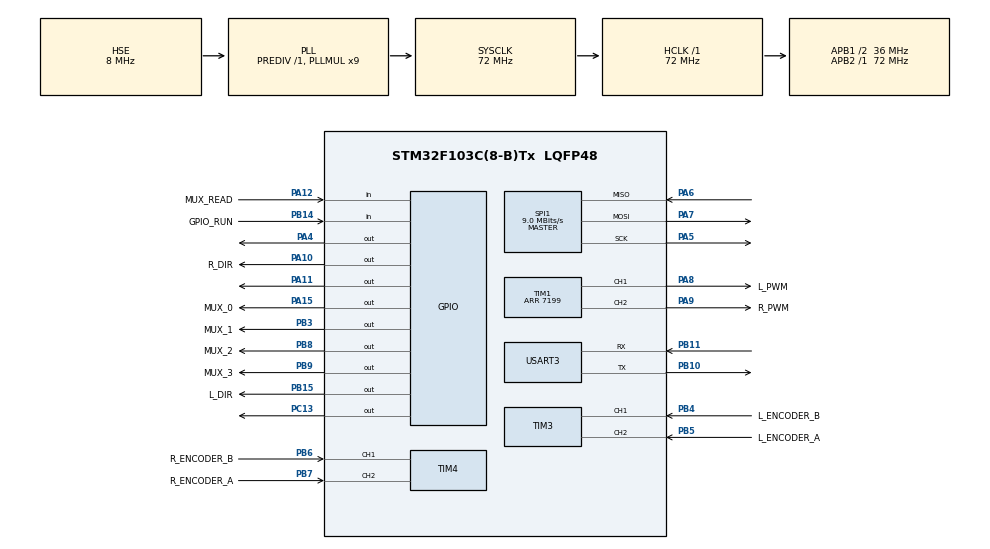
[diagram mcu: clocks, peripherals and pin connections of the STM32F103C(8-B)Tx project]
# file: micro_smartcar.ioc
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Dma.Request0=SPI1_RX
Dma.Request1=SPI1_TX
Dma.Request2=TIM1_UP
Dma.SPI1_RX.0.Direction=DMA_PERIPH_TO_MEMORY
Dma.SPI1_RX.0.Instance=DMA1_Channel2
Dma.SPI1_RX.0.MemDataAlignment=DMA_MDATAALIGN_BYTE
Dma.SPI1_RX.0.MemInc=DMA_MINC_ENABLE
Dma.SPI1_RX.0.Mode=DMA_NORMAL
Dma.SPI1_RX.0.PeriphDataAlignment=DMA_PDATAALIGN_BYTE
Dma.SPI1_RX.0.PeriphInc=DMA_PINC_DISABLE
Dma.SPI1_RX.0.Priority=DMA_PRIORITY_LOW
Dma.SPI1_TX.1.Direction=DMA_MEMORY_TO_PERIPH
Dma.SPI1_TX.1.Instance=DMA1_Channel3
Dma.SPI1_TX.1.MemDataAlignment=DMA_MDATAALIGN_BYTE
Dma.SPI1_TX.1.MemInc=DMA_MINC_ENABLE
Dma.SPI1_TX.1.Mode=DMA_NORMAL
Dma.SPI1_TX.1.PeriphDataAlignment=DMA_PDATAALIGN_BYTE
Dma.SPI1_TX.1.PeriphInc=DMA_PINC_DISABLE
Dma.SPI1_TX.1.Priority=DMA_PRIORITY_LOW
Dma.TIM1_UP.2.Direction=DMA_MEMORY_TO_PERIPH
Dma.TIM1_UP.2.Instance=DMA1_Channel5
Dma.TIM1_UP.2.MemDataAlignment=DMA_MDATAALIGN_WORD
Dma.TIM1_UP.2.MemInc=DMA_MINC_ENABLE
Dma.TIM1_UP.2.Mode=DMA_CIRCULAR
Dma.TIM1_UP.2.PeriphDataAlignment=DMA_PDATAALIGN_WORD
Dma.TIM1_UP.2.PeriphInc=DMA_PINC_DISABLE
Dma.TIM1_UP.2.Priority=DMA_PRIORITY_HIGH
Mcu.Family=STM32F1
Mcu.Name=STM32F103C(8-B)Tx
Mcu.Package=LQFP48
NVIC.DMA1_Channel2_IRQn=true\:0\:0\:false\:false\:true\:false\:true\:true
NVIC.DMA1_Channel3_IRQn=true\:0\:0\:false\:false\:true\:false\:true\:true
NVIC.DMA1_Channel5_IRQn=true\:1\:0\:false\:false\:true\:false\:true\:true
NVIC.PriorityGroup=NVIC_PRIORITYGROUP_4
NVIC.RCC_IRQn=true\:0\:0\:false\:false\:true\:true\:false\:true
NVIC.SPI1_IRQn=true\:0\:0\:false\:false\:true\:true\:true\:true
NVIC.TIM1_UP_IRQn=false\:0\:0\:false\:false\:true\:true\:true\:true
NVIC.TIM2_IRQn=true\:1\:0\:true\:false\:true\:true\:true\:true
NVIC.TIM3_IRQn=true\:0\:0\:false\:false\:true\:true\:true\:true
NVIC.TIM4_IRQn=true\:0\:0\:false\:false\:true\:true\:true\:true
NVIC.USART3_IRQn=true\:0\:0\:false\:false\:true\:true\:true\:true
PA10.GPIO_Label=R_DIR
PA10.Signal=GPIO_Output
PA11.Signal=GPIO_Output
PA12.GPIO_Label=MUX_READ
PA12.Signal=GPIO_Input
PA13.Mode=Serial_Wire
PA13.Signal=SYS_JTMS-SWDIO
PA14.Mode=Serial_Wire
PA14.Signal=SYS_JTCK-SWCLK
PA15.GPIO_Label=MUX_0
PA15.GPIO_Speed=GPIO_SPEED_FREQ_MEDIUM
PA15.Signal=GPIO_Output
PA4.GPIO_PuPd=GPIO_NOPULL
PA4.GPIO_Speed=GPIO_SPEED_FREQ_HIGH
PA4.Signal=GPIO_Output
PA5.Mode=Full_Duplex_Master
PA5.Signal=SPI1_SCK
PA6.Mode=Full_Duplex_Master
PA6.Signal=SPI1_MISO
PA7.Mode=Full_Duplex_Master
PA7.Signal=SPI1_MOSI
PA8.GPIO_Label=L_PWM
PA8.Signal=S_TIM1_CH1
PA9.GPIO_Label=R_PWM
PA9.Signal=S_TIM1_CH2
PB10.Mode=Asynchronous
PB10.Signal=USART3_TX
PB11.Mode=Asynchronous
PB11.Signal=USART3_RX
PB14.GPIO_Label=GPIO_RUN
PB14.GPIO_PuPd=GPIO_NOPULL
PB14.Signal=GPIO_Input
PB15.GPIO_Label=L_DIR
PB15.Signal=GPIO_Output
PB3.GPIO_Label=MUX_1
PB3.GPIO_Speed=GPIO_SPEED_FREQ_MEDIUM
PB3.Signal=GPIO_Output
PB4.GPIO_Label=L_ENCODER_B
PB4.Signal=S_TIM3_CH1
PB5.GPIO_Label=L_ENCODER_A
PB5.Signal=S_TIM3_CH2
PB6.GPIO_Label=R_ENCODER_B
PB6.Signal=S_TIM4_CH1
PB7.GPIO_Label=R_ENCODER_A
PB7.Signal=S_TIM4_CH2
PB8.GPIO_Label=MUX_2
PB8.GPIO_Speed=GPIO_SPEED_FREQ_MEDIUM
PB8.Signal=GPIO_Output
PB9.GPIO_Label=MUX_3
PB9.GPIO_Speed=GPIO_SPEED_FREQ_MEDIUM
PB9.Signal=GPIO_Output
PC13-TAMPER-RTC.GPIO_ModeDefaultOutputPP=GPIO_MODE_OUTPUT_OD
PC13-TAMPER-RTC.GPIO_PuPd=GPIO_NOPULL
PC13-TAMPER-RTC.Signal=GPIO_Output
PD0-OSC_IN.Mode=HSE-External-Oscillator
PD0-OSC_IN.Signal=RCC_OSC_IN
PD1-OSC_OUT.Mode=HSE-External-Oscillator
PD1-OSC_OUT.Signal=RCC_OSC_OUT
ProjectManager.HeapSize=0x200
ProjectManager.StackSize=0x400
ProjectManager.TargetToolchain=MDK-ARM V5.32
RCC.AHBFreq_Value=72000000
RCC.APB1CLKDivider=RCC_HCLK_DIV2
RCC.APB1Freq_Value=36000000
RCC.APB1TimFreq_Value=72000000
RCC.APB2Freq_Value=72000000
RCC.APB2TimFreq_Value=72000000
RCC.HCLKFreq_Value=72000000
RCC.PLLMUL=RCC_PLL_MUL9
RCC.PLLSourceVirtual=RCC_PLLSOURCE_HSE
RCC.SYSCLKFreq_VALUE=72000000
RCC.SYSCLKSource=RCC_SYSCLKSOURCE_PLLCLK
RCC.USBFreq_Value=72000000
SH.S_TIM1_CH1.0=TIM1_CH1,PWM Generation1 CH1
SH.S_TIM1_CH2.0=TIM1_CH2,PWM Generation2 CH2
SH.S_TIM3_CH1.0=TIM3_CH1,Encoder_Interface
SH.S_TIM3_CH2.0=TIM3_CH2,Encoder_Interface
SH.S_TIM4_CH1.0=TIM4_CH1,Encoder_Interface
SH.S_TIM4_CH2.0=TIM4_CH2,Encoder_Interface
SPI1.BaudRatePrescaler=SPI_BAUDRATEPRESCALER_8
SPI1.CalculateBaudRate=9.0 MBits/s
SPI1.Direction=SPI_DIRECTION_2LINES
SPI1.Mode=SPI_MODE_MASTER
SPI1.VirtualType=VM_MASTER
TIM1.Channel-PWM\ Generation1\ CH1=TIM_CHANNEL_1
TIM1.Channel-PWM\ Generation2\ CH2=TIM_CHANNEL_2
TIM1.Period=7199
TIM2.Period=999
TIM2.Prescaler=71
TIM3.EncoderMode=TIM_ENCODERMODE_TI12
TIM4.EncoderMode=TIM_ENCODERMODE_TI12
USART3.VirtualMode=VM_ASYNC
VP_TIM1_VS_ClockSourceINT.Mode=Internal
VP_TIM2_VS_ClockSourceINT.Mode=Internal
board=custom

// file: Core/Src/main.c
/* USER CODE BEGIN Header */
/**
 ******************************************************************************
 * @file           : main.c
 * @brief          : Main program body
 ******************************************************************************
 * @attention
 *
 * Copyright (c) 2025 STMicroelectronics.
 * All rights reserved.
 *
 * This software is licensed under terms that can be found in the LICENSE file
 * in the root directory of this software component.
 * If no LICENSE file comes with this software, it is provided AS-IS.
 *
 * 本文件内含BMI270陀螺仪的使用示例
 * 本文件内含无刷电桥的启动初始化的使用示例
 ******************************************************************************
 */
/* USER CODE END Header */
#include "main.h"
#include "string.h"
#include "stdlib.h"
/* USER CODE BEGIN Includes */
#include "dodo_BMI270.h" //陀螺仪驱动
#include "multiplexer.h" //多路复用器驱动，用于读取光电管读数
#include "stdio.h"
/* USER CODE END Includes */

/* USER CODE BEGIN PTD */
typedef struct {
  float i_acc;      /* 积分器 */
  float last_err;   /* 上一次误差 */
  float out;        /* 上一次输出 用于调试 */
} PID_t; // 状态 PID

typedef struct {
  const char *name;
  float *p;
  float min, max;
} Param_t;

/* USER CODE END PTD */

/* USER CODE BEGIN PD */
/* 陀螺仪调试打印开关。置 1 会引入约 5.4 kB 的浮点 printf 代码，
   MDK-Lite 的 32 kB 链接上限会因此报 L6047U 而链接失败。
   平时保持 0；要串口看数据时改成 1（并注意镜像大小）。 */
#define GYRO_DEBUG 0
#define IF_start_Brushless_motor 1 //是否启动无刷电机，1为启动，0为不启动

/* 控制周期(ms) */
#define SPD_PERIOD      5U
#define LINE_PERIOD     5U
#define TEL_PERIOD      20U     // 预留：实际帧率由命令 STR 控制的 tel_hz 决定
#define SAFE_PERIOD     10U     // 预留：M8 失效检查周期

/* 编码器标定量(占位待测) */
#define ENC_COUNTS_PER_M_L   1000
#define ENC_COUNTS_PER_M_R   1000
#define ENC_SIGN_L           (+1)
#define ENC_SIGN_R           (-1)     // 待测

/* 电机标定量(占位待测) */
#define MOTOR_ARR            7200
#define MOTOR_DUTY_MAX       6480     // 0.9 × 7200
#define MOTOR_DEAD_L         600      // 待测：起转 PWM 占空比，600 / 7200 = 8.3%
#define MOTOR_DEAD_R         600      // 待测：同上

/* DIR 极性(待测，可能由于镜像安装出现两轮反转) */
#define MOTOR_DIR_INVERT_L   0
#define MOTOR_DIR_INVERT_R   0

/* 协议常量 */
#define LINE_ACTIVE_LEVEL    1        // 传感器极性待测
#define CMD_LINE_MAX         64U
#define TEL_BUF_SIZE         128U

/* 编码器-定时器映射：TIM3=左轮、TIM4=右轮 */
#define ENC_TIM_L            (&htim3)
#define ENC_TIM_R            (&htim4)

/* 三级串级常量 */
#define SPD_WIN              5U       // 速度反馈滑动窗口 = 5 ms，每 1 ms 刷新一次
#define LINE_LOST_DEV        800      // 丢线时强制偏转：800/1000 = 80% 满偏
#define LINE_LOST_MS         300U     // 连续丢线时间过长失效保护
#define GYRO_LPF_ALPHA       0.27f    // 一阶低通滤波 α：调低使波形平滑、调高使响应灵敏
#define YAW_STILL_GZ         1.0f     // Z轴角速度阈值：小于 ±1.0 °/s 认为静止
#define STEER_OUT_LIMIT      600.0f   // 转向环输出限幅：目标角速度 ±600 °/s
#define GYRO_OUT_LIMIT       400.0f   // 角速度环输出限幅：差速 ±400 mm/s
#define SPD_I_LIMIT          2000.0f  // 速度环积分限幅

/* 模式 */
#define MODE_STOP   0U
#define MODE_OPEN   1U
#define MODE_RUN    2U
#define MODE_STRAIGHT  3U
#define MODE_TURN      4U
#define MODE_ROUND     5U

/* 陀螺仪-待测：俯视逆时针转动小车， gz 为负时改成 1 */
#define GYRO_INVERT          0

/* 定距 / 旋转 / 环岛（待赛道实测微调） */
#define DIST_DECEL_MM     200     // 距终点 200 mm 开始按斜率减速
#define DIST_TOL_MM        10     // 到点判定
#define TURN_TOL_D10       15     // 旋转到位判定 1.5°
#define TURN_TIMEOUT_MS   3000U   // 旋转超时：陀螺漂移/打滑/堵转时兜底
#define RING_TIMEOUT_MS   6000U   // 环岛超时：出岛判定失效时兜底
#define RING_SPEED_PCT     60     // 环岛内基础速度 = vset × 60%
#define RING_TURN_DPS     250.0f  // 环岛内固定目标角速度 °/s
#define RING_SWEEP_D10   3300     // 累计航向变化 330° 判定出岛

/* USER CODE END PD */

SPI_HandleTypeDef hspi1;
DMA_HandleTypeDef hdma_spi1_rx;
DMA_HandleTypeDef hdma_spi1_tx;
DMA_HandleTypeDef hdma_tim1_up;
TIM_HandleTypeDef htim1;
TIM_HandleTypeDef htim2;
TIM_HandleTypeDef htim3;
TIM_HandleTypeDef htim4;
UART_HandleTypeDef huart3;

/* USER CODE BEGIN PV */
//负压启动相关宏
//负压启动流程：900us脉宽50Hzpwm信号输出2秒后，改为持续2000us脉宽50Hzpwm信号输出
#define ESC_PULSE_SLOTS       200U       /* 20 ms at the 10 kHz TIM1 update rate */
#define ESC_START_PULSE_SLOTS 9U         /* 0.9 ms */
#define ESC_RUN_PULSE_SLOTS   20U        /* 2.0 ms */
#define ESC_START_PERIODS     100U       /* 100 x 20 ms = 2 s */

static uint32_t esc_dma_table[ESC_PULSE_SLOTS];
static uint32_t esc_high_slots;    /* high time currently stored in the table */
static volatile uint32_t esc_period_count;

/* Fill a whole 20 ms frame.  Only used once, before the DMA is started. */
static void ESC_BuildDmaTable(uint32_t high_slots)
{
  uint32_t i;

  for (i = 0U; i < ESC_PULSE_SLOTS; ++i)
  {
    esc_dma_table[i] = (i < high_slots) ? GPIO_PIN_11 : ((uint32_t)GPIO_PIN_11 << 16U);
  }
  esc_high_slots = high_slots;
}

/* Rewrite only the slots whose level really changes, in increasing index
   order: the circular DMA consumes the table in that same order, and slot 9
   is not transferred before ~0.9 ms after this interrupt, so the frame that
   is already running is never disturbed. */
static void ESC_SetPulseWidth(uint32_t high_slots)
{
  uint32_t first;
  uint32_t last;
  uint32_t i;

  if (high_slots == esc_high_slots)
  {
    return;
  }

  first = (high_slots < esc_high_slots) ? high_slots : esc_high_slots;
  last  = (high_slots > esc_high_slots) ? high_slots : esc_high_slots;

  for (i = first; i < last; ++i)
  {
    esc_dma_table[i] = (i < high_slots) ? GPIO_PIN_11 : ((uint32_t)GPIO_PIN_11 << 16U);
  }
  esc_high_slots = high_slots;
}
static void ESC_fullPulseWidth(void){
  uint32_t i;
  for (i = 0U; i < ESC_PULSE_SLOTS; ++i)
  {
    esc_dma_table[i] = GPIO_PIN_11;
  }
  esc_high_slots = ESC_PULSE_SLOTS;
}
/* One interrupt per 20 ms frame: DMA transfer complete in circular mode.
   The 50 Hz waveform itself is produced by TIM1 + DMA in hardware; this
   handler only counts frames and switches 0.9 ms -> 2.0 ms after 2 s. */
static void ESC_DmaTransferComplete(DMA_HandleTypeDef *hdma)
{
  if (esc_period_count < ESC_START_PERIODS)
  {
    ++esc_period_count;
    if (esc_period_count == ESC_START_PERIODS)
    {
      /* The frame that has just been completed was the last 0.9 ms frame:
         100 x 20 ms = 2 s have elapsed, 2.0 ms is now held forever. */
      if (!IF_start_Brushless_motor)
        ESC_SetPulseWidth(10U);
      else
        ESC_SetPulseWidth(ESC_RUN_PULSE_SLOTS);
      /* Nothing left to time, so stop the 50 Hz interrupt. */
      __HAL_DMA_DISABLE_IT(hdma, DMA_IT_TC);
    }
  }
}

/* ---- volatile 块：ISR 中断与主循环通讯 ---- */
volatile uint32_t tick_1ms;
volatile int32_t  v_L, v_R;              /* 轮速 mm/s */
volatile int32_t  pwm_L, pwm_R;          /* 实际 pwm 输出 */
volatile int32_t  v_tgt_L, v_tgt_R;      /* 速度环目标 mm/s */
volatile int32_t  diff_mm_s;             /* 角速度环输出：差速 mm/s */
volatile uint8_t  mode;                  /* MODE_STOP / MODE_OPEN / MODE_RUN */
volatile int32_t  cmd_open_l, cmd_open_r;
volatile int32_t  base_mm_s;             /* 速度环基础速度 */
volatile int32_t  odo_mm;                /* 里程 mm */

/* ---- 参数 其中顺序有内存映射 在 SET 与上位机有对应 ---- */
static float kp_l = 0.30f, kd_l = 0.05f;   /* 转向环 PD */
static float kp_g = 1.50f, kd_g = 0.00f;   /* 角速度环 PD */
static float kp_v = 2.00f, ki_v = 0.02f;   /* 速度环 PI */
static float ff_v = 0.00f;                 /* 前馈-摩擦力待测 */
static float vset = 120.0f;                /* 目标速度 mm/s */
static float kp_y = 0.20f, kd_y = 2.00f;   /* 航向环 PD */
static uint16_t tel_hz = 50U;              /* 遥测帧率 Hz */

/* ---- 仅 ISR 访问 ---- */
static uint16_t enc_last_L, enc_last_R;
static int16_t  enc_win_L[SPD_WIN], enc_win_R[SPD_WIN];
static uint8_t  enc_idx;
static int32_t  enc_sum_L, enc_sum_R;
static int32_t  odo_cnt_L, odo_cnt_R;

/* ---- 仅主循环访问 ---- */
static uint16_t line_mux, line_events;
static int16_t  line_err;
static uint32_t line_lost_since;
static uint8_t  line_lost_active;
static int16_t  tgt_gyro_dps;             /* 转向环输出 */
static float    gz_lpf;                   /* 滤波后的角速度测量值 */
static int16_t  gz_dps;                   /* 取整后用于遥测的测量值 */
static int32_t  yaw_d10;
static float    gz_bias;
static uint8_t  gyro_ready;

/* ---- 模式目标 ---- */
static int32_t  tgt_dist_mm;             /* 定距目标 */
static int32_t  tgt_yaw_d10;             /* 旋转目标（0.1°） */
static int8_t   ring_dir;                /* 环岛方向：+1 右环岛 / -1 左环岛 */
static int32_t  ring_yaw0;               /* 入岛时的航向基准 */
static uint32_t safe_last;
static uint32_t mode_since;              /* 进入当前模式的时刻(ms) */
static uint8_t  mode_prev;               /* 上一拍的 mode，用于检测切换 */

/* ---- PID 实例 ---- */
static PID_t pid_steer, pid_gyro, pid_spd_L, pid_spd_R, pid_yaw;

/* ---- 串口 ---- */
static uint8_t  rx_byte;
static uint8_t  rx_buf[CMD_LINE_MAX];
static volatile uint8_t rx_head, rx_tail;
static char     cmd_line[CMD_LINE_MAX];
static uint8_t  cmd_len;
static char     tel_buf[TEL_BUF_SIZE];

/* USER CODE END PV */

void SystemClock_Config(void);
static void MX_GPIO_Init(void);
static void MX_DMA_Init(void);
static void MX_SPI1_Init(void);
static void MX_TIM1_Init(void);
static void MX_TIM2_Init(void);
static void MX_TIM3_Init(void);
static void MX_USART3_UART_Init(void);
static void MX_TIM4_Init(void);
/* USER CODE BEGIN PFP */

static void  PID_Reset(PID_t *p);
static float PID_Update(PID_t *p, float err, float kp, float ki, float kd, float i_limit, float out_limit);

static void  ENC_ReadDelta(int16_t *dl, int16_t *dr);
static void  ODO_Push(int16_t dl, int16_t dr);

static void  MOTOR_SetDuty(int32_t l, int32_t r);
static void  MOTOR_Stop(void);

static void  LINE_Read(void);
static int16_t LINE_Error(uint16_t mux, uint16_t *events);

static void  IMU_Init(void);
static void  IMU_Update(void);

static void  STEER_Update(void);
static void  GYRO_Update(void);
static void  SPD_Update(void);

static void  CTRL_Init(void);
static void  CTRL_Reset(void);

static void  CMD_Reply(const char *s, uint16_t n);
static void  UART_RxStart(void);
static void  CMD_Poll(void);
static void  CMD_Dispatch(char *line);
static void  TEL_Emit(void);

static void  CTRL_ModeStep(void);
static void  SYS_StartSequence(void);
static void  SYS_Failsafe(void);
static uint8_t RUN_KeyPressed(void);

/* USER CODE END PFP */

/* USER CODE BEGIN 0 */
int fputc(int ch, FILE *f)
{
  HAL_UART_Transmit(&huart3, (uint8_t *)&ch, 1, 0xffff);
  return ch;
}
float gyro_x, gyro_y, gyro_z, accel_x, accel_y, accel_z; // 陀螺仪数据

/* ==================== 参数表 ==================== */
static Param_t param_tab[] = {
  { "kp_l", &kp_l,   0.0f,  500.0f },
  { "kd_l", &kd_l, -500.0f, 500.0f },
  { "kp_g", &kp_g,   0.0f,  100.0f },
  { "kd_g", &kd_g,   0.0f,   10.0f },
  { "kp_v", &kp_v,   0.0f,  200.0f },
  { "ki_v", &ki_v,   0.0f,   50.0f },
  { "ff_v", &ff_v,   0.0f,   50.0f },
  { "vset", &vset,   0.0f, 2000.0f },
  { "kp_y", &kp_y,   0.0f,   20.0f },
  { "kd_y", &kd_y, -100.0f, 100.0f },
};
#define PARAM_NUM (sizeof(param_tab) / sizeof(param_tab[0]))

/* ==================== PID ==================== */
static void PID_Reset(PID_t *p)
{
  p->i_acc = 0.0f;
  p->last_err = 0.0f;
  p->out = 0.0f;
}

/* 位置式 PID */
static float PID_Update(PID_t *p, float err, float kp, float ki, float kd, float i_limit, float out_limit)
{
  float out;

  p->i_acc += err;
  if (p->i_acc > i_limit)  { p->i_acc = i_limit; }
  if (p->i_acc < -i_limit) { p->i_acc = -i_limit; }

  out = kp * err + ki * p->i_acc + kd * (err - p->last_err);
  p->last_err = err;

  if (out > out_limit)  { out = out_limit; }
  if (out < -out_limit) { out = -out_limit; }
  p->out = out;
  return out;
}

/* ==================== 编码器-读取并计算里程/方向 ==================== */
static void ENC_ReadDelta(int16_t *dl, int16_t *dr)
{
  uint16_t now_l = (uint16_t)__HAL_TIM_GET_COUNTER(ENC_TIM_L);
  uint16_t now_r = (uint16_t)__HAL_TIM_GET_COUNTER(ENC_TIM_R);

  // 不清零回绕，利用无符号整型的补码机制计算差值，强转为有符号整型后由于最高位为0/1，可以得到正确正/负值；乘以方向系数用于矫正极性；
  *dl = (int16_t)(uint16_t)(now_l - enc_last_L) * ENC_SIGN_L;
  *dr = (int16_t)(uint16_t)(now_r - enc_last_R) * ENC_SIGN_R;

  enc_last_L = now_l;
  enc_last_R = now_r;
}

/* 滑动窗口算法 */
static void ODO_Push(int16_t dl, int16_t dr)
{
  enc_sum_L += (int32_t)dl - (int32_t)enc_win_L[enc_idx];
  enc_sum_R += (int32_t)dr - (int32_t)enc_win_R[enc_idx];
  enc_win_L[enc_idx] = dl;
  enc_win_R[enc_idx] = dr;
  enc_idx = (uint8_t)((enc_idx + 1U) % SPD_WIN);
  // 循环数组实现 O(1) 滑动窗口

  odo_cnt_L += dl;
  odo_cnt_R += dr;
  odo_mm = ((odo_cnt_L + odo_cnt_R) * 500) / (ENC_COUNTS_PER_M_L + ENC_COUNTS_PER_M_R);
  // 左右轮脉冲数取平均计算小车里程
  // *500 实际是 *1000 / 2

  v_L = (enc_sum_L * 1000) / ((int32_t)ENC_COUNTS_PER_M_L * (int32_t)SPD_WIN);
  v_R = (enc_sum_R * 1000) / ((int32_t)ENC_COUNTS_PER_M_R * (int32_t)SPD_WIN);
  // 速度计算
}

/* ==================== 电机 ==================== */
static int32_t MOTOR_Shape(int32_t u, int32_t dead) // 死区补偿与幅值限制
{
  int32_t mag;

  if (u == 0) { return 0; }
  mag = (u > 0) ? u : -u;
  if (mag > MOTOR_DUTY_MAX) { mag = MOTOR_DUTY_MAX; }
  // [0, MAX] 线性映射到 [dead, MAX] 实现死区线性补偿
  mag = dead + (mag * (MOTOR_DUTY_MAX - dead)) / MOTOR_DUTY_MAX;
  return (u > 0) ? mag : -mag;
}

static void MOTOR_SetDuty(int32_t l, int32_t r) // 设置 PWM 占空比
{
  int32_t sl = MOTOR_Shape(l, MOTOR_DEAD_L);
  int32_t sr = MOTOR_Shape(r, MOTOR_DEAD_R);
  uint32_t bl, br;

  bl = (sl >= 0) ? (uint32_t)sl : (uint32_t)(-sl);
  br = (sr >= 0) ? (uint32_t)sr : (uint32_t)(-sr);

  HAL_GPIO_WritePin(L_DIR_GPIO_Port, L_DIR_Pin,
                    ((uint8_t)(sl >= 0) ^ MOTOR_DIR_INVERT_L) ? GPIO_PIN_SET : GPIO_PIN_RESET);
  HAL_GPIO_WritePin(R_DIR_GPIO_Port, R_DIR_Pin,
                    ((uint8_t)(sr >= 0) ^ MOTOR_DIR_INVERT_R) ? GPIO_PIN_SET : GPIO_PIN_RESET);
  // 方向控制
  // 采用异或，将极性排除，统一将正数视为前进

  TIM1->CCR1 = bl;
  TIM1->CCR2 = br;
  // 写入寄存器

  pwm_L = sl;
  pwm_R = sr;
  // 保存遥测用状态
}

static void MOTOR_Stop(void)
{
  TIM1->CCR1 = 0;
  TIM1->CCR2 = 0;
  pwm_L = 0;
  pwm_R = 0;
}

/* ==================== 光电 ==================== */
static void LINE_Read(void)
{
  MUX_get_value(&line_mux);
  line_err = LINE_Error(line_mux, &line_events);

  if (line_events & 0x01)                    /* LOST */
  {
    if (mode == MODE_RUN)
    {
      line_err = (line_err >= 0) ? LINE_LOST_DEV : -LINE_LOST_DEV;
      // 放大偏转
    }
    if (!line_lost_active) // 上升沿触发
    {
       line_lost_active = 1U;
       line_lost_since = tick_1ms;
    }
  }
  else
  {
    line_lost_active = 0U;
  }
}

// 加权质心算法 - 回正
static int16_t LINE_Error(uint16_t mux, uint16_t *events)
{
  const int32_t span = (int32_t)(MULTIPLEXER_CHANNEL_NUM - 1);
  int32_t sum_w = 0, cnt = 0;
  uint8_t i, b;

  for (i = 0; i < MULTIPLEXER_CHANNEL_NUM; ++i)
  {
    b = (uint8_t)MUX_GET_CHANNEL(mux, i);
    if (!LINE_ACTIVE_LEVEL) { b = (uint8_t)!b; }
    if (b)
    {
      ++cnt;
      sum_w += (span - (int32_t)i * 2);
    }
  }
  // 状态机处理异常事件
  *events = 0;
  if (cnt == 0)                       { *events |= 0x01; return line_err; }  /* LOST  */
  if (cnt == MULTIPLEXER_CHANNEL_NUM) { *events |= 0x02; }                   /* CROSS */
  return (int16_t)((sum_w * 1000) / (cnt * span));
}

/* ==================== 陀螺仪 ==================== */
static void IMU_Init(void)
{
  uint32_t i;
  float sum = 0.0f;

  (void)dodo_BMI270_init();

  for (i = 0; i < 500U; ++i)                 // 1s 内采样求平均值作为零偏
  {
    dodo_BMI270_get_data();
    sum += BMI270_gyro_transition(BMI270_gyro_z);
    HAL_Delay(2);
  }
  // 此过程内不要动车，不要动车！
  gz_bias = sum / 500.0f;
  gz_lpf = 0.0f;
  yaw_d10 = 0;
  gyro_ready = 1U;
  // 恢复状态，记录 flag
}

// IMU 实时姿态解算，在主循环 5 ms 调用一次
static void IMU_Update(void)
{
  static uint32_t last_tick;
  uint32_t now = tick_1ms;
  float gz;

  if (!gyro_ready) { return; }

  dodo_BMI270_get_data();
  gz = BMI270_gyro_transition(BMI270_gyro_z) - gz_bias; // 减去零偏
  #if (GYRO_INVERT)
    gz = -gz;
  #endif
  gz_lpf += GYRO_LPF_ALPHA * (gz - gz_lpf); // 一阶低通滤波
  gz_dps = (int16_t)gz_lpf; // 取整，用于遥测输出

  // 判断是否静止
  // 角速度与线速度趋于 0
  // 风味 abs();
  if ((gz_lpf < YAW_STILL_GZ) && (gz_lpf > -YAW_STILL_GZ) && (v_L < 10) && (v_L > -10))
  {
    gz_bias += 0.0005f * gz;
    // 在线零偏追踪 - 积分修正零偏
  }
  else
  {
    yaw_d10 += (int32_t)(gz_lpf * (float)(now - last_tick) * 0.01f);
    // 航向角积分
    // * 0.01f 实际上是 * 0.001 * 10 (毫秒 -> 秒；角度放大 10 倍)
  }
  last_tick = now;
}

/* ==================== 三级串级 ==================== */
// 转向环 PD：线偏差 -> 目标角速度，运行频率-主循环 200 Hz
static void STEER_Update(void)
{
  tgt_gyro_dps = (int16_t)PID_Update(&pid_steer, (float)line_err,
                                     kp_l, 0.0f, kd_l, 0.0f, STEER_OUT_LIMIT);
}

// 角速度环 PD：目标角速度 -> 差速 mm/s，运行频率-ISR 1 kHz
static void GYRO_Update(void)
{
  float err = (float)tgt_gyro_dps - gz_lpf;
  diff_mm_s = (int32_t)PID_Update(&pid_gyro, err,
                                  kp_g, 0.0f, kd_g, 0.0f, GYRO_OUT_LIMIT);
}

/* 速度环 PI：目标速度 -> PWM 占空比，运行频率-ISR 1 kHz */
static void SPD_Update(void)
{
  float fl, fr;

  v_tgt_L = base_mm_s - diff_mm_s;
  v_tgt_R = base_mm_s + diff_mm_s;

  fl = ff_v * (float)v_tgt_L
     + PID_Update(&pid_spd_L, (float)(v_tgt_L - v_L), kp_v, ki_v, 0.0f, SPD_I_LIMIT, MOTOR_DUTY_MAX);
  fr = ff_v * (float)v_tgt_R
     + PID_Update(&pid_spd_R, (float)(v_tgt_R - v_R), kp_v, ki_v, 0.0f, SPD_I_LIMIT, MOTOR_DUTY_MAX);

  MOTOR_SetDuty((int32_t)fl, (int32_t)fr); // 前馈 + PI 输出
}

/* ==================== 初始化 / 复位 ==================== */
static void CTRL_Reset(void)
{
  PID_Reset(&pid_steer);
  PID_Reset(&pid_gyro);
  PID_Reset(&pid_spd_L);
  PID_Reset(&pid_spd_R);
  PID_Reset(&pid_yaw);

  v_tgt_L = v_tgt_R = 0;
  diff_mm_s = 0;
  base_mm_s = 0;
  cmd_open_l = cmd_open_r = 0;
  odo_cnt_L = odo_cnt_R = 0;
  odo_mm = 0;
  yaw_d10 = 0;
  line_err = 0;
  tgt_gyro_dps = 0;
  mode_prev = 0xFFU;                     // 赋值为棍母，下一拍强制触发 mode 变化计时
  line_lost_active = 0U;
}

static void CTRL_Init(void)
{
  CTRL_Reset();
  enc_idx = 0;
  enc_sum_L = enc_sum_R = 0;
  memset(enc_win_L, 0, sizeof(enc_win_L));
  memset(enc_win_R, 0, sizeof(enc_win_R));

  HAL_TIM_Encoder_Start(ENC_TIM_L, TIM_CHANNEL_ALL);
  HAL_TIM_Encoder_Start(ENC_TIM_R, TIM_CHANNEL_ALL);
  enc_last_L = (uint16_t)__HAL_TIM_GET_COUNTER(ENC_TIM_L);
  enc_last_R = (uint16_t)__HAL_TIM_GET_COUNTER(ENC_TIM_R);

  LINE_Read(); // 读取一次光电管状态，避免一开始就触发丢线保护

  if (HAL_TIM_Base_Start_IT(&htim2) != HAL_OK) { Error_Handler(); }
}

/* ==================== 串口 ==================== */
static void CMD_Reply(const char *s, uint16_t n) // 回执发送
{
  // 若遥测占用串口，强行掐断
  if (huart3.gState != HAL_UART_STATE_READY) { (void)HAL_UART_AbortTransmit(&huart3); }
  (void)HAL_UART_Transmit(&huart3, (uint8_t *)s, n, 5);
}

static void UART_RxStart(void)
{
  rx_head = rx_tail = 0;
  cmd_len = 0;
  if (HAL_UART_Receive_IT(&huart3, &rx_byte, 1) != HAL_OK) { Error_Handler(); }
}

void HAL_UART_RxCpltCallback(UART_HandleTypeDef *huart) // 中断接收
{
  if (huart->Instance == USART3)
  {

    uint8_t next = (uint8_t)((rx_head + 1U) % CMD_LINE_MAX);
    if (next != rx_tail)
    {
      rx_buf[rx_head] = rx_byte;
      rx_head = next;
    }// 环形队列缓冲，溢出时丢弃新数据，保持旧数据

    HAL_UART_Receive_IT(&huart3, &rx_byte, 1);
  }
}

static uint8_t CMD_Is(const char *line, const char *word) // 字符串匹配
{
  uint8_t n = 0;
  while (word[n]) { if (line[n] != word[n]) { return 0; } ++n; }
  return (line[n] == '\0' || line[n] == ' ') ? 1U : 0U; // 要求命令词后面是空格或结束符
}

static uint8_t CMD_ParseSet(char *args) // 参数解析，解析位置传参与命名传参
{
  char *tok;
  uint8_t i;

  if (strchr(args, '=') != NULL)
  {
    tok = strtok(args, " \t");
    while (tok != NULL)
    {
      char *eq = strchr(tok, '=');
      uint8_t found = 0;
      if (eq == NULL) { return 0U; }
      *eq = '\0';
      for (i = 0; i < PARAM_NUM; ++i)
      {
        if (strcmp(tok, param_tab[i].name) == 0)
        {
          float v = (float)atof(eq + 1);
          if ((v < param_tab[i].min) || (v > param_tab[i].max)) { return 0U; }
          *param_tab[i].p = v;
          found = 1U;
          break;
        }
      }
      if (!found) { return 0U; }
      tok = strtok(NULL, " \t");
    }
    return 1U;
  }

  i = 0;
  tok = strtok(args, " \t");
  while ((tok != NULL) && (i < PARAM_NUM))
  {
    float v = (float)atof(tok);
    if ((v < param_tab[i].min) || (v > param_tab[i].max)) { return 0U; }
    *param_tab[i].p = v;
    ++i;
    tok = strtok(NULL, " \t");
  }
  return (i > 0U) ? 1U : 0U;
}

static void CMD_Poll(void)
{
  char c;

  while (rx_tail != rx_head)
  {
    c = (char)rx_buf[rx_tail];
    rx_tail = (uint8_t)((rx_tail + 1U) % CMD_LINE_MAX);

    if (c == '\r') { continue; } // 丢弃回车符
    if (c == '\n')
    {
      cmd_line[cmd_len] = '\0'; // 补充结束符
      if (cmd_len > 0U) { CMD_Dispatch(cmd_line); } // 提交命令
      cmd_len = 0;
      continue;
    }
    if (cmd_len < (CMD_LINE_MAX - 1U)) { cmd_line[cmd_len++] = c; }
    else { cmd_len = 0; } // 缓冲溢出保护
  }
}

static void CMD_Dispatch(char *line) // 命令分发
{
  if (CMD_Is(line, "STOP"))
  {
    mode = MODE_STOP;
    MOTOR_Stop();
    CTRL_Reset();
    CMD_Reply("OK\r\n", 4);
    return;
  }
  if (CMD_Is(line, "START"))
  {
    SYS_StartSequence();
    CMD_Reply("OK\r\n", 4);
    return;
  }
  if (CMD_Is(line, "RESET"))
  {
    CTRL_Reset();
    CMD_Reply("OK\r\n", 4);
    return;
  }
  if (CMD_Is(line, "SET"))
  {
    if (CMD_ParseSet(line + 3)) { CMD_Reply("OK\r\n", 4); }
    else                        { CMD_Reply("ERR\r\n", 5); }
    return;
  }
  if (CMD_Is(line, "PWM"))
  {
    char *sp = strchr(line + 3, ' ');
    if (sp != NULL)
    {
      cmd_open_l = (int32_t)atoi(line + 3);
      cmd_open_r = (int32_t)atoi(sp + 1);
      mode = MODE_OPEN;
      CMD_Reply("OK\r\n", 4);
    }
    else { CMD_Reply("ERR\r\n", 5); }
    return;
  }
  if (CMD_Is(line, "STR"))
  {
    int hz = atoi(line + 3);
    if ((hz >= 0) && (hz <= 200)) { tel_hz = (uint16_t)hz; CMD_Reply("OK\r\n", 4); }
    else { CMD_Reply("ERR\r\n", 5); }
    return;
  }
  if (CMD_Is(line, "MODE"))
  {
    int m = atoi(line + 4);
    mode = (uint8_t)((m >= 0 && m <= 5) ? m : 0);
    if (mode == MODE_STOP) { MOTOR_Stop(); }
    CMD_Reply("OK\r\n", 4);
    return;
  }
  if (CMD_Is(line, "D"))                           /* 定距目标 mm */
  {
    tgt_dist_mm = atoi(line + 1);
    mode = MODE_STRAIGHT;
    CMD_Reply("OK\r\n", 4);
    return;
  }
  if (CMD_Is(line, "Y"))                           /* 旋转目标 deg (signed) */
  {
    tgt_yaw_d10 = (int32_t)(atof(line + 1) * 10.0f);
    mode = MODE_TURN;
    CMD_Reply("OK\r\n", 4);
    return;
  }
  if (CMD_Is(line, "RING"))                        /* 1 = 右环岛，-1 = 左环岛 */
  {
    ring_dir = (int8_t)((atoi(line + 4) < 0) ? -1 : 1);
    ring_yaw0 = yaw_d10;
    mode = MODE_ROUND;
    CMD_Reply("OK\r\n", 4);
    return;
  }
  CMD_Reply("ERR\r\n", 5);
}

static void TEL_Emit(void)
{
  int n;

  if (huart3.gState != HAL_UART_STATE_READY) { return; }   // 若串口阻塞，则丢弃本次遥测
  n = snprintf(tel_buf, sizeof(tel_buf), "%d,%d,%d,%d,%d,%d,%d,%d,%d,%d,%d,%d,%d\r\n",
               (int)v_tgt_L, (int)v_L, (int)v_tgt_R, (int)v_R,
               (int)pwm_L, (int)pwm_R, (int)line_err,
               (int)tgt_gyro_dps, (int)gz_dps, (int)diff_mm_s,
               (int)odo_mm, (int)yaw_d10, (int)line_mux);
  if (n > 0) { (void)HAL_UART_Transmit_IT(&huart3, (uint8_t *)tel_buf, (uint16_t)n); }
}

/* ==================== TIM2 1 kHz ==================== */
void HAL_TIM_PeriodElapsedCallback(TIM_HandleTypeDef *htim)
{
  int16_t dl, dr;

  if (htim->Instance != TIM2) { return; }

  ++tick_1ms;

  ENC_ReadDelta(&dl, &dr);
  ODO_Push(dl, dr);

  if (mode >= MODE_RUN)
  {
    GYRO_Update();
    SPD_Update();
  }
  else if (mode == MODE_OPEN)
  {
    MOTOR_SetDuty(cmd_open_l, cmd_open_r);
  }
  else
  {
    MOTOR_Stop();
  }
}

/* ==================== 模式机（主循环 200 Hz） ==================== */
static void CTRL_ModeStep(void)
{
  int32_t remain, e;

  switch (mode)
  {
    case MODE_RUN:
      base_mm_s = (int32_t)vset;
      break;

    case MODE_STRAIGHT: // 定距运行
      remain = tgt_dist_mm - odo_mm;
      if (remain <= DIST_TOL_MM) // 斜率减速
      {
        base_mm_s = 0;
        mode = MODE_STOP;
        MOTOR_Stop();
        break;
      }
      base_mm_s = (remain < DIST_DECEL_MM)
                ? (((int32_t)vset * remain) / DIST_DECEL_MM) // 线性插值的斜率减速
                : (int32_t)vset;
      break;

    case MODE_TURN: // 原地旋转
      base_mm_s = 0;
      e = tgt_yaw_d10 - yaw_d10;
      if ((e < TURN_TOL_D10) && (e > -TURN_TOL_D10))
      {
        mode = MODE_STOP;
        MOTOR_Stop();
        break;
      }
      tgt_gyro_dps = (int16_t)PID_Update(&pid_yaw, (float)e,
                                         kp_y, 0.0f, kd_y, 0.0f, STEER_OUT_LIMIT);
      break;

    case MODE_ROUND: // 环岛
      base_mm_s = ((int32_t)vset * RING_SPEED_PCT) / 100;
      tgt_gyro_dps = (int16_t)(RING_TURN_DPS * (float)ring_dir);
      if (((yaw_d10 - ring_yaw0) > RING_SWEEP_D10) || ((ring_yaw0 - yaw_d10) > RING_SWEEP_D10))
      {
        mode = MODE_RUN; // 出岛
      }
      break;

    default:
      base_mm_s = 0;
      break;
  }
}

/* ==================== 发车 / 失效保护 ==================== */
static uint8_t RUN_KeyPressed(void)
{
  static uint32_t last_press;

  if (mode != MODE_STOP) { return 0U; }
  if (HAL_GPIO_ReadPin(GPIO_RUN_GPIO_Port, GPIO_RUN_Pin) != GPIO_PIN_RESET) { return 0U; }
  HAL_Delay(20); // 消抖
  if (HAL_GPIO_ReadPin(GPIO_RUN_GPIO_Port, GPIO_RUN_Pin) != GPIO_PIN_RESET) { return 0U; }
  if ((tick_1ms - last_press) < 500U) { return 0U; }
  last_press = tick_1ms;
  return 1U;
}

/* 启动流程了 */
static void SYS_StartSequence(void)
{
  CTRL_Reset();
  if (mode == MODE_STOP) { mode = MODE_RUN; } // 防唐
}

static void SYS_Failsafe(void)
{
  // 切换模式时启动计时
  if (mode != mode_prev)
  {
    mode_prev  = mode;
    mode_since = tick_1ms;
  }

  // 旋转超时保护
  if ((mode == MODE_TURN) && ((tick_1ms - mode_since) > TURN_TIMEOUT_MS))
  {
    mode = MODE_STOP;
    MOTOR_Stop();
    return;
  }

  // 环岛超时保护
  if ((mode == MODE_ROUND) && ((tick_1ms - mode_since) > RING_TIMEOUT_MS))
  {
    mode = MODE_STOP;
    MOTOR_Stop();
    return;
  }

  // 丢线保护
  if ((mode == MODE_RUN) && line_lost_active && ((tick_1ms - line_lost_since) > LINE_LOST_MS))
  {
    mode = MODE_STOP;
    MOTOR_Stop();
    return;
  }

  // 定距运行迷失保护
  if ((mode == MODE_STRAIGHT) && (odo_mm > (tgt_dist_mm + 300)))
  {
    mode = MODE_STOP;
    MOTOR_Stop();
  }
}

/* USER CODE END 0 */
void Init_brushless_motor(void)
{
  /* PA11 idles low: the first high level then also lasts exactly 0.9 ms,
     because the DMA writes the first slot 0.1 ms after TIM1 is started. */
  HAL_GPIO_WritePin(GPIOA, GPIO_PIN_11, GPIO_PIN_RESET);
  ESC_BuildDmaTable(ESC_START_PULSE_SLOTS);
  esc_period_count = 0U;
  hdma_tim1_up.XferCpltCallback = ESC_DmaTransferComplete;
  if (HAL_DMA_Start_IT(&hdma_tim1_up,(uint32_t)esc_dma_table,(uint32_t)&GPIOA->BSRR,ESC_PULSE_SLOTS) != HAL_OK)
    Error_Handler();
  __HAL_TIM_CLEAR_FLAG(&htim1, TIM_FLAG_UPDATE);
  __HAL_TIM_ENABLE_DMA(&htim1, TIM_DMA_UPDATE);
  if (IF_start_Brushless_motor)
    while (esc_period_count < ESC_START_PERIODS)
      HAL_Delay(200);//等待无刷电桥负压启动完成
  /* Disabled fan: return immediately; DMA completes the existing
     0.9 ms -> 1.0 ms idle-signal sequence in the background. */
}
int main(void)
{

  /* MCU Configuration--------------------------------------------------------*/

  /* Reset of all peripherals, Initializes the Flash interface and the Systick. */
  HAL_Init();

  /* Configure the system clock */
  SystemClock_Config();

  /* Initialize all configured peripherals */
  MX_GPIO_Init();
  MX_DMA_Init();
  MX_SPI1_Init();
  MX_TIM1_Init();
  MX_TIM2_Init();
  MX_TIM3_Init();
  MX_USART3_UART_Init();
  MX_TIM4_Init();
  HAL_TIM_PWM_Start(&htim1, TIM_CHANNEL_1);
  HAL_TIM_PWM_Start(&htim1, TIM_CHANNEL_2);
  Init_brushless_motor(); //等待无刷电调负压启动完成
  /* USER CODE BEGIN 2 */

  IMU_Init();         /* 陀螺仪 + 静止标零偏（约 1 s） */
  CTRL_Init();        /* 编码器 + 预读光电 + 启动 TIM2 1 kHz */
  UART_RxStart();     /* USART3 单字节中断接收 */

  /* USER CODE END 2 */

  /* Infinite loop */
  /* USER CODE BEGIN WHILE */
  while (1)
  {
    static uint32_t line_last, tel_last;

    IMU_Update();                                  // 500 Hz 陀螺仪解算

    if ((tick_1ms - line_last) >= LINE_PERIOD)     // 200 Hz 光电读取
    {
      line_last = tick_1ms;
      LINE_Read();
      if (mode == MODE_RUN) { STEER_Update(); }     // 光电转向
      CTRL_ModeStep();                              // 模式机
    }

    CMD_Poll();                                     // 50 Hz 串口命令解析

    if (RUN_KeyPressed()) { SYS_StartSequence(); }  // 按键发车

    if ((tick_1ms - safe_last) >= SAFE_PERIOD)      // 100 Hz 失效检查
    {
      safe_last = tick_1ms;
      SYS_Failsafe();
    }

    if ((tel_hz != 0U) && ((tick_1ms - tel_last) >= (1000U / tel_hz))) // 50 Hz 遥测
    {
      tel_last = tick_1ms;
      TEL_Emit();
    }
    /* USER CODE END WHILE */
  }
}

void SystemClock_Config(void)
{
  RCC_OscInitTypeDef RCC_OscInitStruct = {0};
  RCC_ClkInitTypeDef RCC_ClkInitStruct = {0};

  /** Initializes the RCC Oscillators according to the specified parameters
   * in the RCC_OscInitTypeDef structure.
   */
  RCC_OscInitStruct.OscillatorType = RCC_OSCILLATORTYPE_HSE;
  RCC_OscInitStruct.HSEState = RCC_HSE_ON;
  RCC_OscInitStruct.HSEPredivValue = RCC_HSE_PREDIV_DIV1;
  RCC_OscInitStruct.HSIState = RCC_HSI_ON;
  RCC_OscInitStruct.PLL.PLLState = RCC_PLL_ON;
  RCC_OscInitStruct.PLL.PLLSource = RCC_PLLSOURCE_HSE;
  RCC_OscInitStruct.PLL.PLLMUL = RCC_PLL_MUL9;
  if (HAL_RCC_OscConfig(&RCC_OscInitStruct) != HAL_OK)
  {
    Error_Handler();
  }

  /** Initializes the CPU, AHB and APB buses clocks
   */
  RCC_ClkInitStruct.ClockType = RCC_CLOCKTYPE_HCLK | RCC_CLOCKTYPE_SYSCLK | RCC_CLOCKTYPE_PCLK1 | RCC_CLOCKTYPE_PCLK2;
  RCC_ClkInitStruct.SYSCLKSource = RCC_SYSCLKSOURCE_PLLCLK;
  RCC_ClkInitStruct.AHBCLKDivider = RCC_SYSCLK_DIV1;
  RCC_ClkInitStruct.APB1CLKDivider = RCC_HCLK_DIV2;
  RCC_ClkInitStruct.APB2CLKDivider = RCC_HCLK_DIV1;

  if (HAL_RCC_ClockConfig(&RCC_ClkInitStruct, FLASH_LATENCY_2) != HAL_OK)
  {
    Error_Handler();
  }
}

static void MX_SPI1_Init(void)
{

  /* SPI1 parameter configuration*/
  hspi1.Instance = SPI1;
  hspi1.Init.Mode = SPI_MODE_MASTER;
  hspi1.Init.Direction = SPI_DIRECTION_2LINES;
  hspi1.Init.DataSize = SPI_DATASIZE_8BIT;
  hspi1.Init.CLKPolarity = SPI_POLARITY_LOW;
  hspi1.Init.CLKPhase = SPI_PHASE_1EDGE;
  hspi1.Init.NSS = SPI_NSS_SOFT;
  hspi1.Init.BaudRatePrescaler = SPI_BAUDRATEPRESCALER_8;
  hspi1.Init.FirstBit = SPI_FIRSTBIT_MSB;
  hspi1.Init.TIMode = SPI_TIMODE_DISABLE;
  hspi1.Init.CRCCalculation = SPI_CRCCALCULATION_DISABLE;
  hspi1.Init.CRCPolynomial = 10;
  if (HAL_SPI_Init(&hspi1) != HAL_OK)
  {
    Error_Handler();
  }
}

static void MX_TIM1_Init(void)
{

  TIM_ClockConfigTypeDef sClockSourceConfig = {0};
  TIM_MasterConfigTypeDef sMasterConfig = {0};
  TIM_OC_InitTypeDef sConfigOC = {0};
  TIM_BreakDeadTimeConfigTypeDef sBreakDeadTimeConfig = {0};

  htim1.Instance = TIM1;
  htim1.Init.Prescaler = 0;
  htim1.Init.CounterMode = TIM_COUNTERMODE_UP;
  htim1.Init.Period = 7199;
  htim1.Init.ClockDivision = TIM_CLOCKDIVISION_DIV1;
  htim1.Init.RepetitionCounter = 0;
  htim1.Init.AutoReloadPreload = TIM_AUTORELOAD_PRELOAD_DISABLE;
  if (HAL_TIM_Base_Init(&htim1) != HAL_OK)
  {
    Error_Handler();
  }
  sClockSourceConfig.ClockSource = TIM_CLOCKSOURCE_INTERNAL;
  if (HAL_TIM_ConfigClockSource(&htim1, &sClockSourceConfig) != HAL_OK)
  {
    Error_Handler();
  }
  if (HAL_TIM_PWM_Init(&htim1) != HAL_OK)
  {
    Error_Handler();
  }
  sMasterConfig.MasterOutputTrigger = TIM_TRGO_RESET;
  sMasterConfig.MasterSlaveMode = TIM_MASTERSLAVEMODE_DISABLE;
  if (HAL_TIMEx_MasterConfigSynchronization(&htim1, &sMasterConfig) != HAL_OK)
  {
    Error_Handler();
  }
  sConfigOC.OCMode = TIM_OCMODE_PWM1;
  sConfigOC.Pulse = 0;
  sConfigOC.OCPolarity = TIM_OCPOLARITY_HIGH;
  sConfigOC.OCNPolarity = TIM_OCNPOLARITY_HIGH;
  sConfigOC.OCFastMode = TIM_OCFAST_DISABLE;
  sConfigOC.OCIdleState = TIM_OCIDLESTATE_RESET;
  sConfigOC.OCNIdleState = TIM_OCNIDLESTATE_RESET;
  if (HAL_TIM_PWM_ConfigChannel(&htim1, &sConfigOC, TIM_CHANNEL_1) != HAL_OK)
  {
    Error_Handler();
  }
  if (HAL_TIM_PWM_ConfigChannel(&htim1, &sConfigOC, TIM_CHANNEL_2) != HAL_OK)
  {
    Error_Handler();
  }
  sBreakDeadTimeConfig.OffStateRunMode = TIM_OSSR_DISABLE;
  sBreakDeadTimeConfig.OffStateIDLEMode = TIM_OSSI_DISABLE;
  sBreakDeadTimeConfig.LockLevel = TIM_LOCKLEVEL_OFF;
  sBreakDeadTimeConfig.DeadTime = 0;
  sBreakDeadTimeConfig.BreakState = TIM_BREAK_DISABLE;
  sBreakDeadTimeConfig.BreakPolarity = TIM_BREAKPOLARITY_HIGH;
  sBreakDeadTimeConfig.AutomaticOutput = TIM_AUTOMATICOUTPUT_DISABLE;
  if (HAL_TIMEx_ConfigBreakDeadTime(&htim1, &sBreakDeadTimeConfig) != HAL_OK)
  {
    Error_Handler();
  }
  HAL_TIM_MspPostInit(&htim1);
}

static void MX_TIM2_Init(void)
{

  TIM_ClockConfigTypeDef sClockSourceConfig = {0};
  TIM_MasterConfigTypeDef sMasterConfig = {0};

  htim2.Instance = TIM2;
  htim2.Init.Prescaler = 71;
  htim2.Init.CounterMode = TIM_COUNTERMODE_UP;
  htim2.Init.Period = 999;
  htim2.Init.ClockDivision = TIM_CLOCKDIVISION_DIV1;
  htim2.Init.AutoReloadPreload = TIM_AUTORELOAD_PRELOAD_DISABLE;
  if (HAL_TIM_Base_Init(&htim2) != HAL_OK)
  {
    Error_Handler();
  }
  sClockSourceConfig.ClockSource = TIM_CLOCKSOURCE_INTERNAL;
  if (HAL_TIM_ConfigClockSource(&htim2, &sClockSourceConfig) != HAL_OK)
  {
    Error_Handler();
  }
  sMasterConfig.MasterOutputTrigger = TIM_TRGO_RESET;
  sMasterConfig.MasterSlaveMode = TIM_MASTERSLAVEMODE_DISABLE;
  if (HAL_TIMEx_MasterConfigSynchronization(&htim2, &sMasterConfig) != HAL_OK)
  {
    Error_Handler();
  }
}

static void MX_TIM3_Init(void)
{

  TIM_Encoder_InitTypeDef sConfig = {0};
  TIM_MasterConfigTypeDef sMasterConfig = {0};

  htim3.Instance = TIM3;
  htim3.Init.Prescaler = 0;
  htim3.Init.CounterMode = TIM_COUNTERMODE_UP;
  htim3.Init.Period = 65535;
  htim3.Init.ClockDivision = TIM_CLOCKDIVISION_DIV1;
  htim3.Init.AutoReloadPreload = TIM_AUTORELOAD_PRELOAD_DISABLE;
  sConfig.EncoderMode = TIM_ENCODERMODE_TI12;
  sConfig.IC1Polarity = TIM_ICPOLARITY_RISING;
  sConfig.IC1Selection = TIM_ICSELECTION_DIRECTTI;
  sConfig.IC1Prescaler = TIM_ICPSC_DIV1;
  sConfig.IC1Filter = 0;
  sConfig.IC2Polarity = TIM_ICPOLARITY_RISING;
  sConfig.IC2Selection = TIM_ICSELECTION_DIRECTTI;
  sConfig.IC2Prescaler = TIM_ICPSC_DIV1;
  sConfig.IC2Filter = 0;
  if (HAL_TIM_Encoder_Init(&htim3, &sConfig) != HAL_OK)
  {
    Error_Handler();
  }
  sMasterConfig.MasterOutputTrigger = TIM_TRGO_RESET;
  sMasterConfig.MasterSlaveMode = TIM_MASTERSLAVEMODE_DISABLE;
  if (HAL_TIMEx_MasterConfigSynchronization(&htim3, &sMasterConfig) != HAL_OK)
  {
    Error_Handler();
  }
}

static void MX_TIM4_Init(void)
{

  TIM_Encoder_InitTypeDef sConfig = {0};
  TIM_MasterConfigTypeDef sMasterConfig = {0};

  htim4.Instance = TIM4;
  htim4.Init.Prescaler = 0;
  htim4.Init.CounterMode = TIM_COUNTERMODE_UP;
  htim4.Init.Period = 65535;
  htim4.Init.ClockDivision = TIM_CLOCKDIVISION_DIV1;
  htim4.Init.AutoReloadPreload = TIM_AUTORELOAD_PRELOAD_DISABLE;
  sConfig.EncoderMode = TIM_ENCODERMODE_TI12;
  sConfig.IC1Polarity = TIM_ICPOLARITY_RISING;
  sConfig.IC1Selection = TIM_ICSELECTION_DIRECTTI;
  sConfig.IC1Prescaler = TIM_ICPSC_DIV1;
  sConfig.IC1Filter = 0;
  sConfig.IC2Polarity = TIM_ICPOLARITY_RISING;
  sConfig.IC2Selection = TIM_ICSELECTION_DIRECTTI;
  sConfig.IC2Prescaler = TIM_ICPSC_DIV1;
  sConfig.IC2Filter = 0;
  if (HAL_TIM_Encoder_Init(&htim4, &sConfig) != HAL_OK)
  {
    Error_Handler();
  }
  sMasterConfig.MasterOutputTrigger = TIM_TRGO_RESET;
  sMasterConfig.MasterSlaveMode = TIM_MASTERSLAVEMODE_DISABLE;
  if (HAL_TIMEx_MasterConfigSynchronization(&htim4, &sMasterConfig) != HAL_OK)
  {
    Error_Handler();
  }
}

static void MX_USART3_UART_Init(void)
{

  huart3.Instance = USART3;
  huart3.Init.BaudRate = 115200;
  huart3.Init.WordLength = UART_WORDLENGTH_8B;
  huart3.Init.StopBits = UART_STOPBITS_1;
  huart3.Init.Parity = UART_PARITY_NONE;
  huart3.Init.Mode = UART_MODE_TX_RX;
  huart3.Init.HwFlowCtl = UART_HWCONTROL_NONE;
  huart3.Init.OverSampling = UART_OVERSAMPLING_16;
  if (HAL_UART_Init(&huart3) != HAL_OK)
  {
    Error_Handler();
  }
}

static void MX_DMA_Init(void)
{

  /* DMA controller clock enable */
  __HAL_RCC_DMA1_CLK_ENABLE();

  /* DMA interrupt init */
  /* DMA1_Channel2_IRQn interrupt configuration */
  HAL_NVIC_SetPriority(DMA1_Channel2_IRQn, 0, 0);
  HAL_NVIC_EnableIRQ(DMA1_Channel2_IRQn);
  /* DMA1_Channel3_IRQn interrupt configuration */
  HAL_NVIC_SetPriority(DMA1_Channel3_IRQn, 0, 0);
  HAL_NVIC_EnableIRQ(DMA1_Channel3_IRQn);
}

static void MX_GPIO_Init(void)
{
  GPIO_InitTypeDef GPIO_InitStruct = {0};

  /* GPIO Ports Clock Enable */
  __HAL_RCC_GPIOC_CLK_ENABLE();
  __HAL_RCC_GPIOD_CLK_ENABLE();
  __HAL_RCC_GPIOA_CLK_ENABLE();
  __HAL_RCC_GPIOB_CLK_ENABLE();

  /*Configure GPIO pin Output Level */
  HAL_GPIO_WritePin(GPIOC, GPIO_PIN_13, GPIO_PIN_RESET);

  /*Configure GPIO pin Output Level */
  HAL_GPIO_WritePin(GPIOA, GPIO_PIN_4 | R_DIR_Pin | GPIO_PIN_11 | MUX_0_Pin, GPIO_PIN_RESET);

  /*Configure GPIO pin Output Level */
  HAL_GPIO_WritePin(GPIOB, L_DIR_Pin | MUX_1_Pin | MUX_2_Pin | MUX_3_Pin, GPIO_PIN_RESET);

  /*Configure GPIO pin : PC13 */
  GPIO_InitStruct.Pin = GPIO_PIN_13;
  GPIO_InitStruct.Mode = GPIO_MODE_OUTPUT_OD;
  GPIO_InitStruct.Pull = GPIO_NOPULL;
  GPIO_InitStruct.Speed = GPIO_SPEED_FREQ_LOW;
  HAL_GPIO_Init(GPIOC, &GPIO_InitStruct);

  /*Configure GPIO pin : PA4 */
  GPIO_InitStruct.Pin = GPIO_PIN_4;
  GPIO_InitStruct.Mode = GPIO_MODE_OUTPUT_PP;
  GPIO_InitStruct.Pull = GPIO_NOPULL;
  GPIO_InitStruct.Speed = GPIO_SPEED_FREQ_HIGH;
  HAL_GPIO_Init(GPIOA, &GPIO_InitStruct);

  /*Configure GPIO pin : GPIO_RUN_Pin */
  GPIO_InitStruct.Pin = GPIO_RUN_Pin;
  GPIO_InitStruct.Mode = GPIO_MODE_INPUT;
  GPIO_InitStruct.Pull = GPIO_NOPULL;
  HAL_GPIO_Init(GPIO_RUN_GPIO_Port, &GPIO_InitStruct);

  /*Configure GPIO pin : L_DIR_Pin */
  GPIO_InitStruct.Pin = L_DIR_Pin;
  GPIO_InitStruct.Mode = GPIO_MODE_OUTPUT_PP;
  GPIO_InitStruct.Pull = GPIO_NOPULL;
  GPIO_InitStruct.Speed = GPIO_SPEED_FREQ_LOW;
  HAL_GPIO_Init(L_DIR_GPIO_Port, &GPIO_InitStruct);

  /*Configure GPIO pins : R_DIR_Pin PA11 */
  GPIO_InitStruct.Pin = R_DIR_Pin | GPIO_PIN_11;
  GPIO_InitStruct.Mode = GPIO_MODE_OUTPUT_PP;
  GPIO_InitStruct.Pull = GPIO_NOPULL;
  GPIO_InitStruct.Speed = GPIO_SPEED_FREQ_LOW;
  HAL_GPIO_Init(GPIOA, &GPIO_InitStruct);

  /*Configure GPIO pin : MUX_READ_Pin */
  GPIO_InitStruct.Pin = MUX_READ_Pin;
  GPIO_InitStruct.Mode = GPIO_MODE_INPUT;
  GPIO_InitStruct.Pull = GPIO_NOPULL;
  HAL_GPIO_Init(MUX_READ_GPIO_Port, &GPIO_InitStruct);

  /*Configure GPIO pin : MUX_0_Pin */
  GPIO_InitStruct.Pin = MUX_0_Pin;
  GPIO_InitStruct.Mode = GPIO_MODE_OUTPUT_PP;
  GPIO_InitStruct.Pull = GPIO_NOPULL;
  GPIO_InitStruct.Speed = GPIO_SPEED_FREQ_MEDIUM;
  HAL_GPIO_Init(MUX_0_GPIO_Port, &GPIO_InitStruct);

  /*Configure GPIO pins : MUX_1_Pin MUX_2_Pin MUX_3_Pin */
  GPIO_InitStruct.Pin = MUX_1_Pin | MUX_2_Pin | MUX_3_Pin;
  GPIO_InitStruct.Mode = GPIO_MODE_OUTPUT_PP;
  GPIO_InitStruct.Pull = GPIO_NOPULL;
  GPIO_InitStruct.Speed = GPIO_SPEED_FREQ_MEDIUM;
  HAL_GPIO_Init(GPIOB, &GPIO_InitStruct);

}

void Error_Handler(void)
{
  __disable_irq();
  while (1)
  {
  }
}
